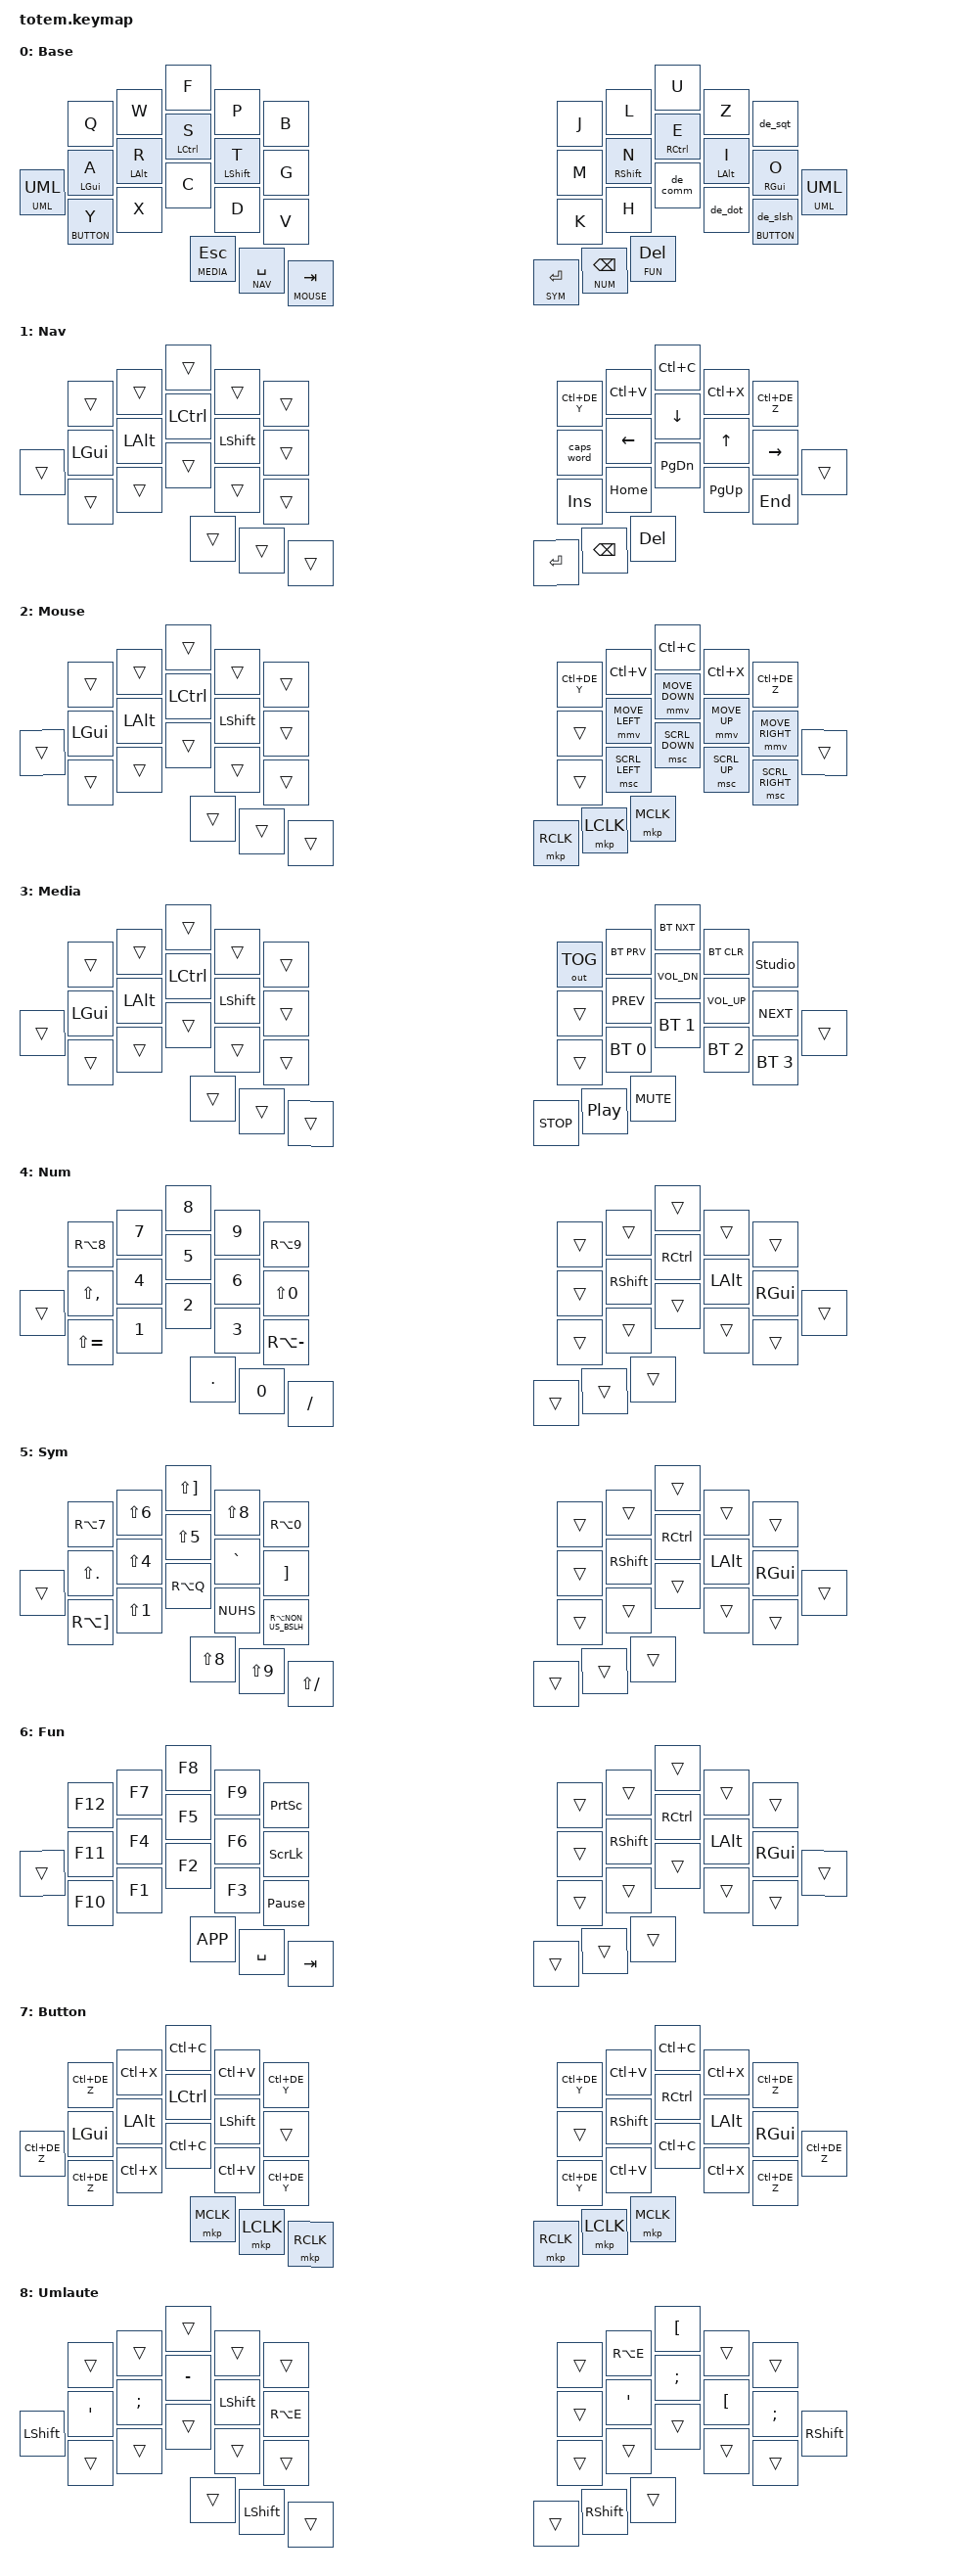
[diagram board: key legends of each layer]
#include <behaviors.dtsi>
#include <dt-bindings/zmk/keys.h>
#include <dt-bindings/zmk/bt.h>
#include <dt-bindings/zmk/outputs.h>

// Mouse-Geschwindigkeiten für Miryoku Mouse-Layer (VOR pointing.h definieren!)
#define ZMK_POINTING_DEFAULT_MOVE_VAL 1300  // Flüssige Zeigergeschwindigkeit
#define ZMK_POINTING_DEFAULT_SCRL_VAL 20    // Angenehmes Scrollen
#include <dt-bindings/zmk/pointing.h>

// =========================================================================
// DEUTSCHE QWERTZ-ÜBERSETZUNG FÜR WINDOWS
// (Sorgt dafür, dass Colemak-DH & US-Miryoku-Symbole unter Windows DE stimmen)
// =========================================================================
#define DE_Y    Z               // Sendet DE-'Y'
#define DE_Z    Y               // Sendet DE-'Z'
#define DE_AE   SQT             // ä / Ä
#define DE_OE   SEMI            // ö / Ö
#define DE_UE   LBKT            // ü / Ü
#define DE_SZ   MINUS           // ß
#define DE_EURO RA(E)           // €

// Echte Windows-Shortcuts für Copy/Paste/Undo (statt K_COPY, da Windows das ignoriert!)
#define U_UNDO  LC(DE_Z)        // Strg + Z (Rückgängig)
#define U_CUT   LC(X)           // Strg + X (Ausschneiden)
#define U_COPY  LC(C)           // Strg + C (Kopieren)
#define U_PASTE LC(V)           // Strg + V (Einfügen)
#define U_REDO  LC(DE_Y)        // Strg + Y (Wiederholen)

// Satzzeichen & Programmier-Symbole (auf DE-QWERTZ gemappt)
#define DE_MINS SLASH           // -
#define DE_UNDS LS(SLASH)       // _
#define DE_PLUS RBKT            // +
#define DE_STAR LS(RBKT)        // *
#define DE_EQL  LS(N0)          // =
#define DE_SLSH LS(N7)          // /
#define DE_BSLS RA(MINUS)       // \ (AltGr + ß)
#define DE_PIPE RA(NON_US_BSLH) // | (AltGr + <)
#define DE_LT   NON_US_BSLH     // <
#define DE_GT   LS(NON_US_BSLH) // >
#define DE_LPAR LS(N8)          // (
#define DE_RPAR LS(N9)          // )
#define DE_LBKT RA(N8)          // [
#define DE_RBKT RA(N9)          // ]
#define DE_LBRC RA(N7)          // {
#define DE_RBRC RA(N0)          // }
#define DE_SEMI LS(COMMA)       // ;
#define DE_COLN LS(DOT)         // :
#define DE_SQT  LS(NUHS)        // '
#define DE_DQT  LS(N2)          // "
#define DE_GRAV LS(EQUAL)       // `
#define DE_TILD RA(RBKT)        // ~
#define DE_EXCL LS(N1)          // !
#define DE_AT   RA(Q)           // @
#define DE_HASH NUHS            // #
#define DE_DLLR LS(N4)          // $
#define DE_PRCNT LS(N5)         // %
#define DE_CARET GRAVE          // ^
#define DE_AMPS LS(N6)          // &
#define DE_QMARK LS(MINUS)      // ?

// Tasten-Positionen auf dem 38-Tasten Totem für bilaterale Home Row Mods
#define KEYS_L 0 1 2 3 4 10 11 12 13 14 20 21 22 23 24 25
#define KEYS_R 5 6 7 8 9 15 16 17 18 19 26 27 28 29 30 31
#define THUMBS 32 33 34 35 36 37

// Layer-Nummern (Miryoku Standard + Button-Layer + Umlaut-Layer)
#define BASE   0
#define NAV    1
#define MOUSE  2
#define MEDIA  3
#define NUM    4
#define SYM    5
#define FUN    6
#define BUTTON 7
#define UML    8

&sk {
    release-after-ms = <2000>;
    quick-release;
};

&sl {
    release-after-ms = <2000>;
};

/ {
    behaviors {
        // Moderne Timeless Home Row Mods LINKS (löst sofort bei rechter Hand aus, verzögert bei gleicher Hand)
        hml: homerow_mods_left {
            compatible = "zmk,behavior-hold-tap";
            #binding-cells = <2>;
            tapping-term-ms = <220>;
            quick-tap-ms = <175>;
            require-prior-idle-ms = <150>;
            flavor = "balanced";
            bindings = <&kp>, <&kp>;
            hold-trigger-key-positions = <KEYS_R THUMBS>;
            hold-trigger-on-release;
        };

        // Moderne Timeless Home Row Mods RECHTS (löst sofort bei linker Hand aus, verzögert bei gleicher Hand)
        hmr: homerow_mods_right {
            compatible = "zmk,behavior-hold-tap";
            #binding-cells = <2>;
            tapping-term-ms = <220>;
            quick-tap-ms = <175>;
            require-prior-idle-ms = <150>;
            flavor = "balanced";
            bindings = <&kp>, <&kp>;
            hold-trigger-key-positions = <KEYS_L THUMBS>;
            hold-trigger-on-release;
        };

        // Daumen & Button-Layer-Tap mit Quick-Tap
        lt_q: layer_tap_quick {
            compatible = "zmk,behavior-hold-tap";
            #binding-cells = <2>;
            tapping-term-ms = <200>;
            quick-tap-ms = <175>;
            flavor = "balanced";
            bindings = <&mo>, <&kp>;
        };

        // Spezial-Behavior für Slash (Tap = / oder ? mit Shift | Hold = BUTTON Layer)
        lt_slsh: layer_tap_slash {
            compatible = "zmk,behavior-hold-tap";
            #binding-cells = <2>;
            tapping-term-ms = <200>;
            quick-tap-ms = <175>;
            flavor = "balanced";
            bindings = <&mo>, <&de_slsh>;
        };

        // Spezial-Behavior für die 2 äußeren Pinky-Tasten (Antippen = Sticky Umlaut, Halten = Umlaut-Layer)
        uml_key: umlaut_layer_key {
            compatible = "zmk,behavior-hold-tap";
            #binding-cells = <2>;
            tapping-term-ms = <200>;
            quick-tap-ms = <175>;
            flavor = "balanced";
            bindings = <&mo>, <&sl>;
        };

        // Korrigierter Punkt & Komma für DE-QWERTZ: Normal = , / . | Mit Shift = < / >
        de_comm: de_comma_morph {
            compatible = "zmk,behavior-mod-morph";
            #binding-cells = <0>;
            bindings = <&kp COMMA>, <&kp DE_LT>;
            mods = <(MOD_LSFT|MOD_RSFT)>;
        };

        de_dot: de_dot_morph {
            compatible = "zmk,behavior-mod-morph";
            #binding-cells = <0>;
            bindings = <&kp DOT>, <&kp DE_GT>;
            mods = <(MOD_LSFT|MOD_RSFT)>;
        };

        de_slsh: de_slash_morph {
            compatible = "zmk,behavior-mod-morph";
            #binding-cells = <0>;
            bindings = <&kp DE_SLSH>, <&kp DE_QMARK>;
            mods = <(MOD_LSFT|MOD_RSFT)>;
        };

        de_sqt: de_sqt_morph {
            compatible = "zmk,behavior-mod-morph";
            #binding-cells = <0>;
            bindings = <&kp DE_SQT>, <&kp DE_DQT>;
            mods = <(MOD_LSFT|MOD_RSFT)>;
        };
    };

    keymap {
        compatible = "zmk,keymap";

        // 0: BASE (Miryoku Colemak-DH mit BUTTON-Layer auf Z und /)
        base_layer {
            display-name = "Base";
            bindings = <
                         &kp Q             &kp W       &kp F        &kp P        &kp B            &kp J        &kp L        &kp U        &kp DE_Y    &de_sqt
                         &hml LGUI A       &hml LALT R &hml LCTRL S &hml LSHFT T &kp G            &kp M        &hmr RSHFT N &hmr RCTRL E &hmr LALT I &hmr RGUI O
            &uml_key UML UML &lt_q BUTTON DE_Z &kp X   &kp C        &kp D        &kp V            &kp K        &kp H        &de_comm     &de_dot     &lt_slsh BUTTON 0 &uml_key UML UML
                                                       &lt_q MEDIA ESC &lt_q NAV SPACE &lt_q MOUSE TAB  &lt_q SYM RET &lt_q NUM BSPC &lt_q FUN DEL
            >;
        };

        // 1: NAV (Miryoku Navigation + echtes Windows Copy/Paste auf der rechten Hand)
        nav_layer {
            display-name = "Nav";
            bindings = <
                         &trans      &trans      &trans       &trans       &trans           &kp U_REDO   &kp U_PASTE  &kp U_COPY   &kp U_CUT   &kp U_UNDO
                         &kp LGUI    &kp LALT    &kp LCTRL    &kp LSHFT    &trans           &caps_word   &kp LEFT     &kp DOWN     &kp UP      &kp RIGHT
            &trans       &trans      &trans      &trans       &trans       &trans           &kp INS      &kp HOME     &kp PG_DN    &kp PG_UP   &kp END     &trans
                                                 &trans       &trans       &trans           &kp RET      &kp BSPC     &kp DEL
            >;
        };

        // 2: MOUSE (Miryoku Mouse Navigation & Scrollen auf der rechten Hand)
        mouse_layer {
            display-name = "Mouse";
            bindings = <
                         &trans      &trans      &trans       &trans       &trans           &kp U_REDO   &kp U_PASTE  &kp U_COPY   &kp U_CUT   &kp U_UNDO
                         &kp LGUI    &kp LALT    &kp LCTRL    &kp LSHFT    &trans           &trans       &mmv MOVE_LEFT &mmv MOVE_DOWN &mmv MOVE_UP &mmv MOVE_RIGHT
            &trans       &trans      &trans      &trans       &trans       &trans           &trans       &msc SCRL_LEFT &msc SCRL_DOWN &msc SCRL_UP &msc SCRL_RIGHT &trans
                                                 &trans       &trans       &trans           &mkp RCLK    &mkp LCLK    &mkp MCLK
            >;
        };

        // 3: MEDIA (Miryoku Media & Bluetooth-Steuerung auf der rechten Hand)
        media_layer {
            display-name = "Media";
            bindings = <
                         &trans      &trans      &trans       &trans       &trans           &out OUT_TOG &bt BT_PRV   &bt BT_NXT   &bt BT_CLR  &studio_unlock
                         &kp LGUI    &kp LALT    &kp LCTRL    &kp LSHFT    &trans           &trans       &kp C_PREV   &kp C_VOL_DN &kp C_VOL_UP &kp C_NEXT
            &trans       &trans      &trans      &trans       &trans       &trans           &trans       &bt BT_SEL 0 &bt BT_SEL 1 &bt BT_SEL 2 &bt BT_SEL 3 &trans
                                                 &trans       &trans       &trans           &kp C_STOP   &kp C_PP     &kp C_MUTE
            >;
        };

        // 4: NUM (Miryoku Zahlenblock auf der linken Hand)
        num_layer {
            display-name = "Num";
            bindings = <
                         &kp DE_LBKT &kp N7      &kp N8       &kp N9       &kp DE_RBKT      &trans       &trans       &trans       &trans      &trans
                         &kp DE_SEMI &kp N4      &kp N5       &kp N6       &kp DE_EQL       &trans       &kp RSHFT    &kp RCTRL    &kp LALT    &kp RGUI
            &trans       &kp DE_GRAV &kp N1      &kp N2       &kp N3       &kp DE_BSLS      &trans       &trans       &trans       &trans      &trans      &trans
                                                 &kp DOT      &kp N0       &kp DE_MINS      &trans       &trans       &trans
            >;
        };

        // 5: SYM (Miryoku Symbole auf der linken Hand, DE-QWERTZ übersetzt)
        sym_layer {
            display-name = "Sym";
            bindings = <
                         &kp DE_LBRC &kp DE_AMPS &kp DE_STAR  &kp DE_LPAR  &kp DE_RBRC      &trans       &trans       &trans       &trans      &trans
                         &kp DE_COLN &kp DE_DLLR &kp DE_PRCNT &kp DE_CARET &kp DE_PLUS      &trans       &kp RSHFT    &kp RCTRL    &kp LALT    &kp RGUI
            &trans       &kp DE_TILD &kp DE_EXCL &kp DE_AT    &kp DE_HASH  &kp DE_PIPE      &trans       &trans       &trans       &trans      &trans      &trans
                                                 &kp DE_LPAR  &kp DE_RPAR  &kp DE_UNDS      &trans       &trans       &trans
            >;
        };

        // 6: FUN (Miryoku F-Tasten auf der linken Hand)
        fun_layer {
            display-name = "Fun";
            bindings = <
                         &kp F12     &kp F7      &kp F8       &kp F9       &kp PSCRN        &trans       &trans       &trans       &trans      &trans
                         &kp F11     &kp F4      &kp F5       &kp F6       &kp SLCK         &trans       &kp RSHFT    &kp RCTRL    &kp LALT    &kp RGUI
            &trans       &kp F10     &kp F1      &kp F2       &kp F3       &kp PAUSE_BREAK  &trans       &trans       &trans       &trans      &trans      &trans
                                                 &kp K_APP    &kp SPACE    &kp TAB          &trans       &trans       &trans
            >;
        };

        // 7: BUTTON (Miryoku Einhand-Copy/Paste & Mausklicks - gehalten über Z oder /)
        // Wenn du links Z hältst: X = Cut, C = Copy, D = Paste, V = Redo, Äußere Pinky-Taste = Undo!
        button_layer {
            display-name = "Button";
            bindings = <
                         &kp U_UNDO  &kp U_CUT   &kp U_COPY   &kp U_PASTE  &kp U_REDO       &kp U_REDO   &kp U_PASTE  &kp U_COPY   &kp U_CUT   &kp U_UNDO
                         &kp LGUI    &kp LALT    &kp LCTRL    &kp LSHFT    &trans           &trans       &kp RSHFT    &kp RCTRL    &kp LALT    &kp RGUI
            &kp U_UNDO   &kp U_UNDO  &kp U_CUT   &kp U_COPY   &kp U_PASTE  &kp U_REDO       &kp U_REDO   &kp U_PASTE  &kp U_COPY   &kp U_CUT   &kp U_UNDO  &kp U_UNDO
                                                 &mkp MCLK    &mkp LCLK    &mkp RCLK        &mkp RCLK    &mkp LCLK    &mkp MCLK
            >;
        };

        // 8: UML (Deutsche Umlaute & € - aktiviert über die 2 äußeren Spezialtasten)
        // Großschreibung (Ä, Ö, Ü) klappt jetzt über:
        // 1. Zuerst Shift (T oder N) halten -> dann äußere Umlaut-Taste + Umlaut
        // 2. Äußere Umlaut-Taste halten/tippen -> dann T (links), Space/Bspc (Daumen) oder andere äußere Taste als Shift halten!
        uml_layer {
            display-name = "Umlaute";
            bindings = <
                         &trans      &trans      &trans       &trans       &trans           &trans       &kp DE_EURO  &kp DE_UE    &trans      &trans
                         &kp DE_AE   &kp DE_OE   &kp DE_SZ    &kp LSHFT    &kp DE_EURO      &trans       &kp DE_AE    &kp DE_OE    &kp DE_UE   &kp DE_OE
            &kp LSHFT    &trans      &trans      &trans       &trans       &trans           &trans       &trans       &trans       &trans      &trans      &kp RSHFT
                                                 &trans       &kp LSHFT    &trans           &trans       &kp RSHFT    &trans
            >;
        };
    };
};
